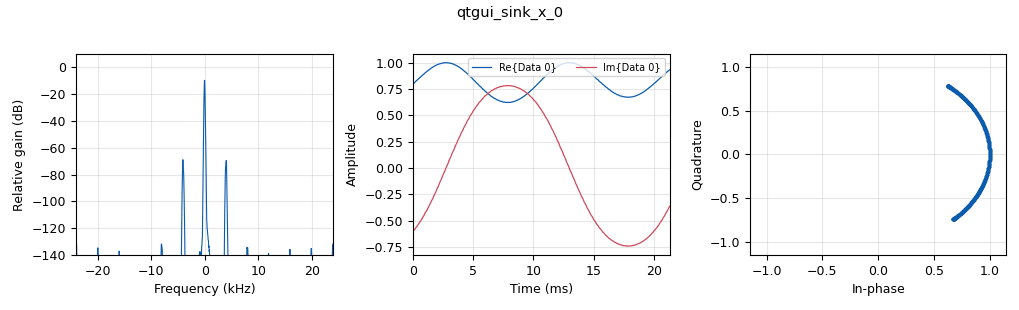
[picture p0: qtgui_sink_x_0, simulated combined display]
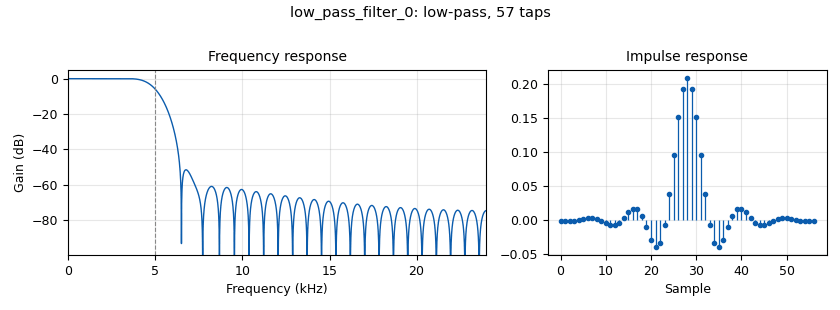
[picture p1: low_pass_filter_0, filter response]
options:
  parameters:
    author: ambsc
    generate_options: qt_gui
    id: PlutoTransmit
    output_language: python
    title: Not titled yet
  states: {}

blocks:
- name: audio_gain
  id: variable_qtgui_range
  parameters:
    start: '0'
    step: '50e-3'
    stop: '1'
    value: '100e-3'
  states: {}
- name: quad_rate
  id: variable
  parameters:
    value: '576000'
  states: {}
- name: samp_rate
  id: variable
  parameters:
    value: '48000'
  states: {}
- name: analog_sig_source_x_0
  id: analog_sig_source_x
  parameters:
    amp: '1'
    freq: '600'
    offset: '0'
    phase: '0'
    samp_rate: '48000'
    type: float
    waveform: analog.GR_COS_WAVE
  states: {}
- name: analog_wfm_tx_0
  id: analog_wfm_tx
  parameters:
    audio_rate: '48000'
    fh: '-1.0'
    max_dev: '5000'
    quad_rate: '576000'
    tau: '75e-6'
  states: {}
- name: blocks_multiply_const_vxx_0
  id: blocks_multiply_const_vxx
  parameters:
    const: audio_gain
    type: float
  states: {}
- name: iio_pluto_sink_0
  id: iio_pluto_sink
  parameters:
    attenuation1: '10.0'
    bandwidth: '200000'
    buffer_size: '16384'
    cyclic: 'False'
    filter_source: '''Auto'''
    frequency: '100000000'
    samplerate: quad_rate
    type: fc32
    uri: 192.168.2.1
  states: {}
- name: low_pass_filter_0
  id: low_pass_filter
  parameters:
    cutoff_freq: '5000'
    decim: '1'
    gain: '1'
    samp_rate: samp_rate
    type: fir_filter_ccf
    width: '2000'
    win: window.WIN_HAMMING
  states: {}
- name: qtgui_sink_x_0
  id: qtgui_sink_x
  parameters:
    bw: '48000'
    fc: '0'
    fftsize: '1024'
    type: complex
  states: {}

connections:
- [analog_sig_source_x_0, '0', blocks_multiply_const_vxx_0, '0']
- [analog_wfm_tx_0, '0', low_pass_filter_0, '0']
- [blocks_multiply_const_vxx_0, '0', analog_wfm_tx_0, '0']
- [low_pass_filter_0, '0', iio_pluto_sink_0, '0']
- [low_pass_filter_0, '0', qtgui_sink_x_0, '0']

metadata:
  file_format: 1
  grc_version: 3.10.10.0
